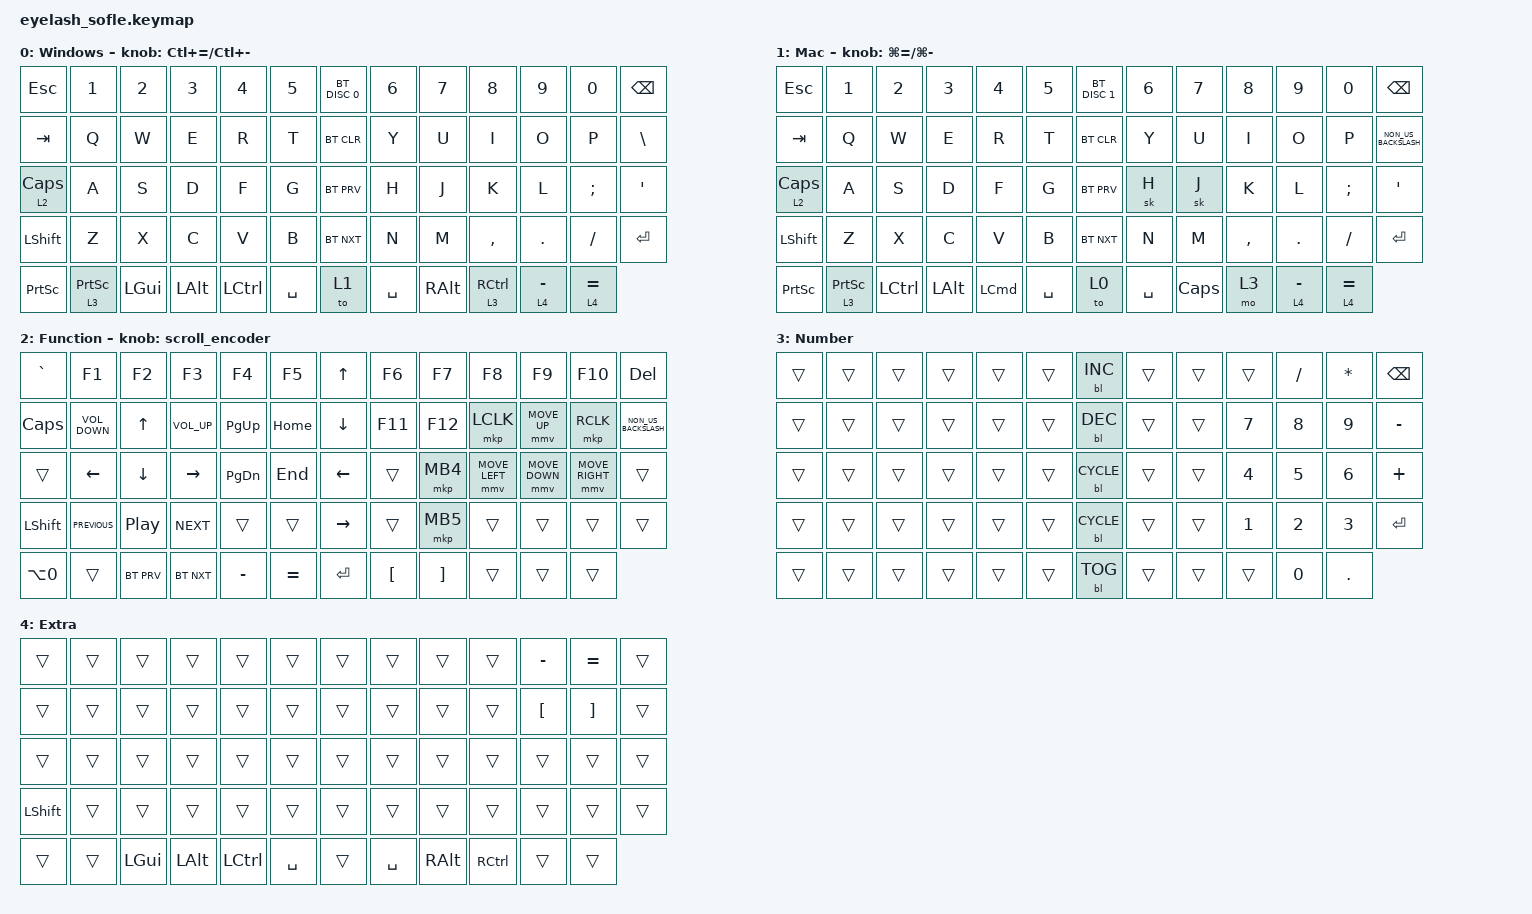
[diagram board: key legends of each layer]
#define ZMK_POINTING_DEFAULT_MOVE_VAL 1200  // 600
#define ZMK_POINTING_DEFAULT_SCRL_VAL 35    // 10

#include <input/processors.dtsi>
#include <zephyr/dt-bindings/input/input-event-codes.h>
#include <behaviors.dtsi>
#include <dt-bindings/zmk/backlight.h>
#include <dt-bindings/zmk/bt.h>
#include <dt-bindings/zmk/keys.h>
#include <dt-bindings/zmk/pointing.h>

/ {
    zip_scroll_scaler: zip_scroll_scaler {
        compatible = "zmk,input-processor-scaler";
        #input-processor-cells = <2>;
        type = <INPUT_EV_REL>;
        codes = <INPUT_REL_WHEEL INPUT_REL_HWHEEL>;
        track-remainders;
    };
};

&mmv_input_listener { input-processors = <&zip_xy_scaler 2 1>; };

&msc_input_listener { input-processors = <&zip_scroll_scaler 2 1>; };

&msc {
    acceleration-exponent = <0>;      // 0
    time-to-max-speed-ms = <0>;       // 300
    delay-ms = <0>;                   // 0
};

&mmv {
    time-to-max-speed-ms = <800>;
    acceleration-exponent = <1>;
};

/ {
    scroll_encoder: scroll_encoder {
        compatible = "zmk,behavior-sensor-rotate";
        #sensor-binding-cells = <0>;
        bindings = <&msc SCRL_DOWN>, <&msc SCRL_UP>;

        tap-ms = <30>;
    };

    behaviors {
    };

    keymap {
        compatible = "zmk,keymap";

        Windows {
            bindings = <
&kp ESCAPE       &kp N1             &kp N2        &kp N3        &kp N4            &kp N5       &bt BT_DISC 0  &kp N6     &kp N7         &kp N8               &kp N9       &kp N0       &kp BACKSPACE
&kp TAB          &kp Q              &kp W         &kp E         &kp R             &kp T        &bt BT_CLR     &kp Y      &kp U          &kp I                &kp O        &kp P        &kp BSLH
&lt 2 CAPSLOCK   &kp A              &kp S         &kp D         &kp F             &kp G        &bt BT_PRV     &kp H      &kp J          &kp K                &kp L        &kp SEMI     &kp APOS
&kp LSHFT        &kp Z              &kp X         &kp C         &kp V             &kp B        &bt BT_NXT     &kp N      &kp M          &kp COMMA            &kp DOT      &kp FSLH     &kp ENTER
&kp PRINTSCREEN  &lt 3 PRINTSCREEN  &kp LEFT_GUI  &kp LEFT_ALT  &kp LEFT_CONTROL  &kp SPACE    &to 1          &kp SPACE  &kp RIGHT_ALT  &lt 3 RIGHT_CONTROL  &lt 4 MINUS  &lt 4 EQUAL
            >;

            sensor-bindings = <&inc_dec_kp LC(EQUAL) LC(MINUS)>;
            display-name = "Windows";
        };

        Mac {
            bindings = <
&kp ESCAPE       &kp NUMBER_1       &kp NUMBER_2      &kp NUMBER_3  &kp NUMBER_4      &kp N5       &bt BT_DISC 1  &kp NUMBER_6  &kp N7    &kp N8     &kp N9       &kp N0         &kp BACKSPACE
&kp TAB          &kp Q              &kp W             &kp E         &kp R             &kp T        &bt BT_CLR     &kp Y         &kp U     &kp I      &kp O        &kp P          &kp NON_US_BACKSLASH
&lt 2 CAPS       &kp A              &kp S             &kp D         &kp F             &kp G        &bt BT_PRV     &sk H         &sk J     &kp K      &kp L        &kp SEMICOLON  &kp SQT
&kp LEFT_SHIFT   &kp Z              &kp X             &kp C         &kp V             &kp B        &bt BT_NXT     &kp N         &kp M     &kp COMMA  &kp PERIOD   &kp SLASH      &kp ENTER
&kp PRINTSCREEN  &lt 3 PRINTSCREEN  &kp LEFT_CONTROL  &kp LEFT_ALT  &kp LEFT_COMMAND  &kp SPACE    &to 0          &kp SPACE     &kp CAPS  &mo 3      &lt 4 MINUS  &lt 4 EQUAL
            >;

            sensor-bindings = <&inc_dec_kp LG(EQUAL) LG(MINUS)>;
            label = "Mac";
        };

        Function {
            bindings = <
&kp GRAVE         &kp F1             &kp F2            &kp F3        &kp F4         &kp F5       &kp UP_ARROW    &kp F6            &kp F7             &kp F8          &kp F9          &kp F10          &kp DELETE
&kp CAPS          &kp C_VOLUME_DOWN  &kp UP_ARROW      &kp C_VOL_UP  &kp PAGE_UP    &kp HOME     &kp DOWN_ARROW  &kp F11           &kp F12            &mkp LCLK       &mmv MOVE_UP    &mkp RCLK        &kp NON_US_BACKSLASH
&trans            &kp LEFT           &kp DOWN          &kp RIGHT     &kp PAGE_DOWN  &kp END      &kp LEFT        &trans            &mkp MB4           &mmv MOVE_LEFT  &mmv MOVE_DOWN  &mmv MOVE_RIGHT  &trans
&kp LSHFT         &kp C_PREVIOUS     &kp C_PLAY_PAUSE  &kp C_NEXT    &trans         &trans       &kp RIGHT       &trans            &mkp MB5           &trans          &trans          &trans           &trans
&kp LA(NUMBER_0)  &trans             &bt BT_PRV        &bt BT_NXT    &kp MINUS      &kp EQUAL    &kp ENTER       &kp LEFT_BRACKET  &kp RIGHT_BRACKET  &trans          &trans          &trans
            >;

            sensor-bindings = <&scroll_encoder>;
            display-name = "Function";
        };

        Number {
            bindings = <
&trans  &trans  &trans  &trans  &trans  &trans    &bl BL_INC    &trans  &trans  &trans        &kp FSLH      &kp STAR      &kp BSPC
&trans  &trans  &trans  &trans  &trans  &trans    &bl BL_DEC    &trans  &trans  &kp N7        &kp N8        &kp N9        &kp MINUS
&trans  &trans  &trans  &trans  &trans  &trans    &bl BL_CYCLE  &trans  &trans  &kp NUMBER_4  &kp N5        &kp NUMBER_6  &kp PLUS
&trans  &trans  &trans  &trans  &trans  &trans    &bl BL_CYCLE  &trans  &trans  &kp NUMBER_1  &kp NUMBER_2  &kp NUMBER_3  &kp ENTER
&trans  &trans  &trans  &trans  &trans  &trans    &bl BL_TOG    &trans  &trans  &trans        &kp N0        &kp PERIOD
            >;

            label = "Number";
        };

        Extra {
            bindings = <
&trans     &trans  &trans    &trans    &trans     &trans       &trans  &trans     &trans    &trans     &kp MINUS  &kp EQUAL  &trans
&trans     &trans  &trans    &trans    &trans     &trans       &trans  &trans     &trans    &trans     &kp LBKT   &kp RBKT   &trans
&trans     &trans  &trans    &trans    &trans     &trans       &trans  &trans     &trans    &trans     &trans     &trans     &trans
&kp LSHFT  &trans  &trans    &trans    &trans     &trans       &trans  &trans     &trans    &trans     &trans     &trans     &trans
&trans     &trans  &kp LGUI  &kp LALT  &kp LCTRL  &kp SPACE    &trans  &kp SPACE  &kp RALT  &kp RCTRL  &trans     &trans
            >;

            label = "Extra";
        };
    };
};
